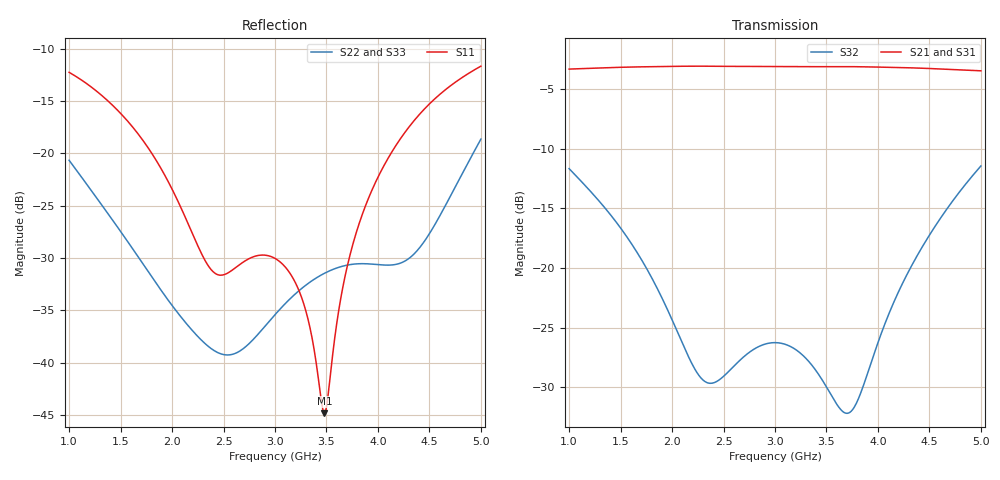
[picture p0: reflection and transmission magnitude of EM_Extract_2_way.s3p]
! AWR Design Environment (19377) Sat Dec 27 00:38:22 2025
! Document = 'EM_Extract_2_way'
! nPorts: 3, nXvals: 401
# GHz S DB R 50
!Freq DBS11 AngS11 DBS12 AngS12 DBS13 AngS13
!	DBS21 AngS21 DBS22 AngS22 DBS23 AngS23
!	DBS31 AngS31 DBS32 AngS32 DBS33 AngS33
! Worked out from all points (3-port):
!   401 points, 1 GHz to 5 GHz, reference 50 ohm
!   strongest paths, dB at 1 GHz, 2 GHz, 3 GHz, 4 GHz, 5 GHz:
!     S21: -3.3, -3.1, -3.1, -3.2, -3.5
!     S31: -3.3, -3.1, -3.1, -3.2, -3.5
!     S32: -11.7, -24.3, -26.3, -26.3, -11.5
!   lowest |S11| = -44.8 dB at 3.48 GHz (marker M1), VSWR 1.01, Z = 50.6 + j0.0527 ohm
!   |S11| at or under -10 dB: start of sweep to end of sweep
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1  -12.26 114.0  -3.33 -75.9  -3.33 -75.9
   -3.33 -75.9  -20.66 0.7  -11.67 -106.3
   -3.33 -75.9  -11.67 -106.3  -20.66 0.8
2.11  -25.70 62.2  -3.09 -163.5  -3.09 -163.5
      -3.09 -163.5  -35.91 -150.1  -26.49 135.7
      -3.09 -163.5  -26.49 135.7  -35.95 -148.8
2.43  -31.53 91.9  -3.09 171.0  -3.09 171.0
      -3.09 171.0  -38.96 -174.4  -29.53 54.2
      -3.09 171.0  -29.53 54.2  -38.99 -172.1
3  -30.03 111.0  -3.11 125.7  -3.12 125.7
   -3.11 125.7  -35.41 167.3  -26.25 -29.4
   -3.12 125.7  -26.25 -29.4  -35.29 168.8
3.27  -34.10 90.6  -3.13 104.2  -3.13 104.1
      -3.13 104.2  -32.82 145.1  -27.31 -47.4
      -3.13 104.1  -27.31 -47.4  -32.72 146.2
3.48  -44.83 5.2  -3.12 87.3  -3.13 87.3
      -3.12 87.3  -31.46 123.4  -29.68 -50.9
      -3.13 87.3  -29.68 -50.9  -31.39 124.3
3.69  -31.31 -86.1  -3.12 70.4  -3.12 70.4
      -3.12 70.4  -30.70 98.3  -32.17 -28.3
      -3.12 70.4  -32.17 -28.3  -30.66 99.1
3.96  -23.11 -111.3  -3.16 48.5  -3.16 48.5
      -3.16 48.5  -30.59 58.6  -27.27 8.8
      -3.16 48.5  -27.27 8.8  -30.59 59.2
4.47  -15.57 -148.9  -3.27 7.0  -3.28 7.0
      -3.27 7.0  -28.13 -52.9  -17.67 -5.8
      -3.28 7.0  -17.67 -5.8  -28.13 -53.0
5  -11.67 174.0  -3.47 -35.8  -3.49 -35.8
   -3.47 -35.8  -18.64 -149.9  -11.45 -38.9
   -3.49 -35.8  -11.45 -38.9  -18.59 -149.8
